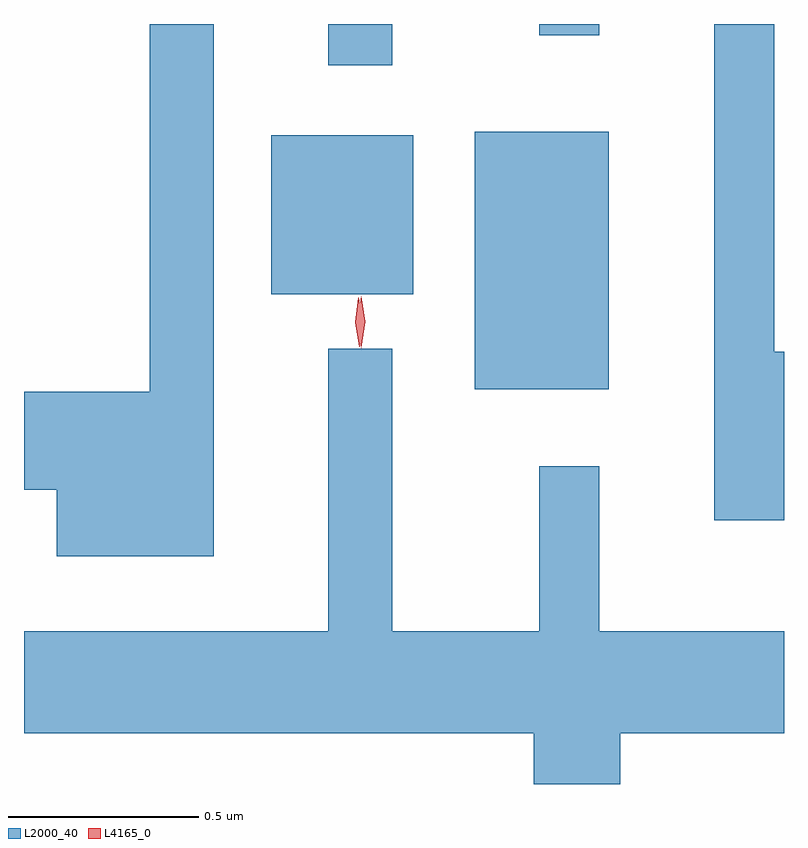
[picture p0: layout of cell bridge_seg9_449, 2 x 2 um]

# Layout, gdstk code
import gdstk
lib = gdstk.Library(unit=1e-6, precision=1e-09)
def R(c, l, rs):  # rectangles x0, y0, x1, y1
    for r in rs: c.add(gdstk.rectangle(r[:2], r[2:], *l))
def P(c, l, *ps):  # polygons
    for p in ps: c.add(gdstk.Polygon(p, *l))
L2000_40 = (2000, 40)
L4165_0 = (4165, 0)

bridge_seg9_449 = lib.new_cell('bridge_seg9_449')
R(bridge_seg9_449, L2000_40, [(426.926,2030.461,427.279,2031.139), (426.391,2030.711,426.764,2031.129), (426.541,2031.313,426.709,2031.422), (427.096,2031.393,427.254,2031.422)])
P(bridge_seg9_449, L2000_40, [(427.74,2030.559),(427.714,2030.559),(427.714,2031.422),(427.556,2031.422),(427.556,2030.116),(427.74,2030.116)],
  [(426.239,2031.422),(426.071,2031.422),(426.071,2030.454),(425.74,2030.454),(425.74,2030.196),(425.826,2030.196),(425.826,2030.021),(426.239,2030.021)],
  [(427.309,2029.556),(427.74,2029.556),(427.74,2029.824),(427.254,2029.824),(427.254,2030.258),(427.096,2030.258),(427.096,2029.824),(426.709,2029.824),(426.709,2030.568),(426.541,2030.568),(426.541,2029.824),(425.74,2029.824),(425.74,2029.556),(427.081,2029.556),(427.081,2029.422),(427.309,2029.422)])
P(bridge_seg9_449, L4165_0, [(426.622,2030.573),(426.612,2030.637),(426.62,2030.701),(426.62,2030.702),(426.621,2030.701),(426.631,2030.637),(426.623,2030.573),(426.623,2030.573)],
  [(426.628,2030.569),(426.627,2030.57),(426.618,2030.638),(426.627,2030.706),(426.628,2030.706),(426.628,2030.706),(426.638,2030.638),(426.628,2030.57)])

lib.write_gds('bridge_seg9_449.gds')
